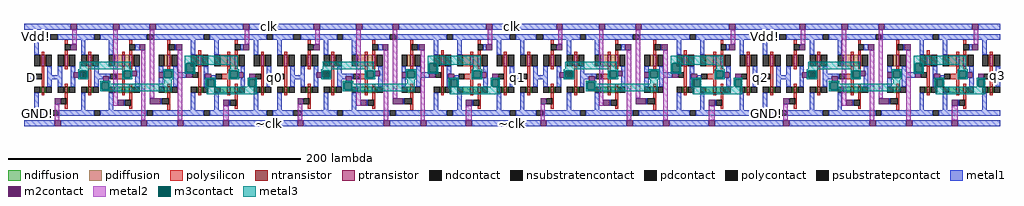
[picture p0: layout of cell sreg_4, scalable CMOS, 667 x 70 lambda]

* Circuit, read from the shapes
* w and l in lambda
.subckt sreg_4 D GND! Vdd! clk q0 q1 q2 q3 ~clk
M1 n1 D GND! GND! nfet w=4 l=2
M2 n2 ~clk n1 GND! nfet w=4 l=2
M3 n3 n2 GND! GND! nfet w=4 l=2
M4 n4 n3 GND! GND! nfet w=4 l=2
M5 n2 clk n4 GND! nfet w=4 l=2
M6 n5 clk n3 GND! nfet w=4 l=2
M7 n6 n5 GND! GND! nfet w=4 l=2
M8 n7 n6 GND! GND! nfet w=4 l=2
M9 n5 ~clk n7 GND! nfet w=4 l=2
M10 q0 n6 GND! GND! nfet w=4 l=2
M11 n8 q0 GND! GND! nfet w=4 l=2
M12 n9 ~clk n8 GND! nfet w=4 l=2
M13 n10 n9 GND! GND! nfet w=4 l=2
M14 n11 n10 GND! GND! nfet w=4 l=2
M15 n9 clk n11 GND! nfet w=4 l=2
M16 n12 clk n10 GND! nfet w=4 l=2
M17 n13 n12 GND! GND! nfet w=4 l=2
M18 n14 n13 GND! GND! nfet w=4 l=2
M19 n12 ~clk n14 GND! nfet w=4 l=2
M20 q1 n13 GND! GND! nfet w=4 l=2
M21 n15 q1 GND! GND! nfet w=4 l=2
M22 n16 ~clk n15 GND! nfet w=4 l=2
M23 n17 n16 GND! GND! nfet w=4 l=2
M24 n18 n17 GND! GND! nfet w=4 l=2
M25 n16 clk n18 GND! nfet w=4 l=2
M26 n19 clk n17 GND! nfet w=4 l=2
M27 n20 n19 GND! GND! nfet w=4 l=2
M28 n21 n20 GND! GND! nfet w=4 l=2
M29 n19 ~clk n21 GND! nfet w=4 l=2
M30 q2 n20 GND! GND! nfet w=4 l=2
M31 n22 q2 GND! GND! nfet w=4 l=2
M32 n23 ~clk n22 GND! nfet w=4 l=2
M33 n24 n23 GND! GND! nfet w=4 l=2
M34 n25 n24 GND! GND! nfet w=4 l=2
M35 n23 clk n25 GND! nfet w=4 l=2
M36 n26 clk n24 GND! nfet w=4 l=2
M37 n27 n26 GND! GND! nfet w=4 l=2
M38 n28 n27 GND! GND! nfet w=4 l=2
M39 n26 ~clk n28 GND! nfet w=4 l=2
M40 q3 n27 GND! GND! nfet w=4 l=2
M41 n1 D Vdd! Vdd! pfet w=8 l=2
M42 n2 clk n1 Vdd! pfet w=8 l=2
M43 n3 n2 Vdd! Vdd! pfet w=8 l=2
M44 n29 n3 Vdd! Vdd! pfet w=8 l=2
M45 n2 ~clk n29 Vdd! pfet w=8 l=2
M46 n5 ~clk n3 Vdd! pfet w=8 l=2
M47 n6 n5 Vdd! Vdd! pfet w=8 l=2
M48 n30 n6 Vdd! Vdd! pfet w=8 l=2
M49 n5 clk n30 Vdd! pfet w=8 l=2
M50 q0 n6 Vdd! Vdd! pfet w=8 l=2
M51 n8 q0 Vdd! Vdd! pfet w=8 l=2
M52 n9 clk n8 Vdd! pfet w=8 l=2
M53 n10 n9 Vdd! Vdd! pfet w=8 l=2
M54 n31 n10 Vdd! Vdd! pfet w=8 l=2
M55 n9 ~clk n31 Vdd! pfet w=8 l=2
M56 n12 ~clk n10 Vdd! pfet w=8 l=2
M57 n13 n12 Vdd! Vdd! pfet w=8 l=2
M58 n32 n13 Vdd! Vdd! pfet w=8 l=2
M59 n12 clk n32 Vdd! pfet w=8 l=2
M60 q1 n13 Vdd! Vdd! pfet w=8 l=2
M61 n15 q1 Vdd! Vdd! pfet w=8 l=2
M62 n16 clk n15 Vdd! pfet w=8 l=2
M63 n17 n16 Vdd! Vdd! pfet w=8 l=2
M64 n33 n17 Vdd! Vdd! pfet w=8 l=2
M65 n16 ~clk n33 Vdd! pfet w=8 l=2
M66 n19 ~clk n17 Vdd! pfet w=8 l=2
M67 n20 n19 Vdd! Vdd! pfet w=8 l=2
M68 n34 n20 Vdd! Vdd! pfet w=8 l=2
M69 n19 clk n34 Vdd! pfet w=8 l=2
M70 q2 n20 Vdd! Vdd! pfet w=8 l=2
M71 n22 q2 Vdd! Vdd! pfet w=8 l=2
M72 n23 clk n22 Vdd! pfet w=8 l=2
M73 n24 n23 Vdd! Vdd! pfet w=8 l=2
M74 n35 n24 Vdd! Vdd! pfet w=8 l=2
M75 n23 ~clk n35 Vdd! pfet w=8 l=2
M76 n26 ~clk n24 Vdd! pfet w=8 l=2
M77 n27 n26 Vdd! Vdd! pfet w=8 l=2
M78 n36 n27 Vdd! Vdd! pfet w=8 l=2
M79 n26 clk n36 Vdd! pfet w=8 l=2
M80 q3 n27 Vdd! Vdd! pfet w=8 l=2
.ends

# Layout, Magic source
magic
tech scmos
<< ntransistor >>
rect 12 23 14 27
rect 28 23 30 27
rect 44 23 46 27
rect 67 23 69 27
rect 72 23 74 27
rect 98 23 100 27
rect 119 23 121 27
rect 139 23 141 27
rect 144 23 146 27
rect 162 23 164 27
rect 178 23 180 27
rect 194 23 196 27
rect 210 23 212 27
rect 233 23 235 27
rect 238 23 240 27
rect 264 23 266 27
rect 285 23 287 27
rect 305 23 307 27
rect 310 23 312 27
rect 328 23 330 27
rect 344 23 346 27
rect 360 23 362 27
rect 376 23 378 27
rect 399 23 401 27
rect 404 23 406 27
rect 430 23 432 27
rect 451 23 453 27
rect 471 23 473 27
rect 476 23 478 27
rect 494 23 496 27
rect 510 23 512 27
rect 526 23 528 27
rect 542 23 544 27
rect 565 23 567 27
rect 570 23 572 27
rect 596 23 598 27
rect 617 23 619 27
rect 637 23 639 27
rect 642 23 644 27
rect 660 23 662 27
<< ptransistor >>
rect 12 41 14 49
rect 28 41 30 49
rect 44 41 46 49
rect 67 41 69 49
rect 72 41 74 49
rect 98 41 100 49
rect 119 41 121 49
rect 139 41 141 49
rect 144 41 146 49
rect 162 41 164 49
rect 178 41 180 49
rect 194 41 196 49
rect 210 41 212 49
rect 233 41 235 49
rect 238 41 240 49
rect 264 41 266 49
rect 285 41 287 49
rect 305 41 307 49
rect 310 41 312 49
rect 328 41 330 49
rect 344 41 346 49
rect 360 41 362 49
rect 376 41 378 49
rect 399 41 401 49
rect 404 41 406 49
rect 430 41 432 49
rect 451 41 453 49
rect 471 41 473 49
rect 476 41 478 49
rect 494 41 496 49
rect 510 41 512 49
rect 526 41 528 49
rect 542 41 544 49
rect 565 41 567 49
rect 570 41 572 49
rect 596 41 598 49
rect 617 41 619 49
rect 637 41 639 49
rect 642 41 644 49
rect 660 41 662 49
<< ndiffusion >>
rect 11 23 12 27
rect 14 23 15 27
rect 27 23 28 27
rect 30 23 31 27
rect 43 23 44 27
rect 46 23 47 27
rect 62 23 67 27
rect 69 23 72 27
rect 74 23 75 27
rect 96 23 98 27
rect 100 23 101 27
rect 118 23 119 27
rect 121 23 122 27
rect 134 23 139 27
rect 141 23 144 27
rect 146 23 147 27
rect 161 23 162 27
rect 164 23 165 27
rect 177 23 178 27
rect 180 23 181 27
rect 193 23 194 27
rect 196 23 197 27
rect 209 23 210 27
rect 212 23 213 27
rect 228 23 233 27
rect 235 23 238 27
rect 240 23 241 27
rect 262 23 264 27
rect 266 23 267 27
rect 284 23 285 27
rect 287 23 288 27
rect 300 23 305 27
rect 307 23 310 27
rect 312 23 313 27
rect 327 23 328 27
rect 330 23 331 27
rect 343 23 344 27
rect 346 23 347 27
rect 359 23 360 27
rect 362 23 363 27
rect 375 23 376 27
rect 378 23 379 27
rect 394 23 399 27
rect 401 23 404 27
rect 406 23 407 27
rect 428 23 430 27
rect 432 23 433 27
rect 450 23 451 27
rect 453 23 454 27
rect 466 23 471 27
rect 473 23 476 27
rect 478 23 479 27
rect 493 23 494 27
rect 496 23 497 27
rect 509 23 510 27
rect 512 23 513 27
rect 525 23 526 27
rect 528 23 529 27
rect 541 23 542 27
rect 544 23 545 27
rect 560 23 565 27
rect 567 23 570 27
rect 572 23 573 27
rect 594 23 596 27
rect 598 23 599 27
rect 616 23 617 27
rect 619 23 620 27
rect 632 23 637 27
rect 639 23 642 27
rect 644 23 645 27
rect 659 23 660 27
rect 662 23 663 27
<< pdiffusion >>
rect 11 41 12 49
rect 14 41 15 49
rect 27 41 28 49
rect 30 41 31 49
rect 43 41 44 49
rect 46 41 47 49
rect 62 41 67 49
rect 69 41 72 49
rect 74 41 75 49
rect 96 41 98 49
rect 100 41 101 49
rect 118 41 119 49
rect 121 41 122 49
rect 134 41 139 49
rect 141 41 144 49
rect 146 41 147 49
rect 161 41 162 49
rect 164 41 165 49
rect 177 41 178 49
rect 180 41 181 49
rect 193 41 194 49
rect 196 41 197 49
rect 209 41 210 49
rect 212 41 213 49
rect 228 41 233 49
rect 235 41 238 49
rect 240 41 241 49
rect 262 41 264 49
rect 266 41 267 49
rect 284 41 285 49
rect 287 41 288 49
rect 300 41 305 49
rect 307 41 310 49
rect 312 41 313 49
rect 327 41 328 49
rect 330 41 331 49
rect 343 41 344 49
rect 346 41 347 49
rect 359 41 360 49
rect 362 41 363 49
rect 375 41 376 49
rect 378 41 379 49
rect 394 41 399 49
rect 401 41 404 49
rect 406 41 407 49
rect 428 41 430 49
rect 432 41 433 49
rect 450 41 451 49
rect 453 41 454 49
rect 466 41 471 49
rect 473 41 476 49
rect 478 41 479 49
rect 493 41 494 49
rect 496 41 497 49
rect 509 41 510 49
rect 512 41 513 49
rect 525 41 526 49
rect 528 41 529 49
rect 541 41 542 49
rect 544 41 545 49
rect 560 41 565 49
rect 567 41 570 49
rect 572 41 573 49
rect 594 41 596 49
rect 598 41 599 49
rect 616 41 617 49
rect 619 41 620 49
rect 632 41 637 49
rect 639 41 642 49
rect 644 41 645 49
rect 659 41 660 49
rect 662 41 663 49
<< ndcontact >>
rect 7 23 11 27
rect 15 23 19 27
rect 23 23 27 27
rect 31 23 35 27
rect 39 23 43 27
rect 47 23 51 27
rect 58 23 62 27
rect 75 23 79 27
rect 92 23 96 27
rect 101 23 105 27
rect 114 23 118 27
rect 122 23 126 27
rect 130 23 134 27
rect 147 23 151 27
rect 157 23 161 27
rect 165 23 169 27
rect 173 23 177 27
rect 181 23 185 27
rect 189 23 193 27
rect 197 23 201 27
rect 205 23 209 27
rect 213 23 217 27
rect 224 23 228 27
rect 241 23 245 27
rect 258 23 262 27
rect 267 23 271 27
rect 280 23 284 27
rect 288 23 292 27
rect 296 23 300 27
rect 313 23 317 27
rect 323 23 327 27
rect 331 23 335 27
rect 339 23 343 27
rect 347 23 351 27
rect 355 23 359 27
rect 363 23 367 27
rect 371 23 375 27
rect 379 23 383 27
rect 390 23 394 27
rect 407 23 411 27
rect 424 23 428 27
rect 433 23 437 27
rect 446 23 450 27
rect 454 23 458 27
rect 462 23 466 27
rect 479 23 483 27
rect 489 23 493 27
rect 497 23 501 27
rect 505 23 509 27
rect 513 23 517 27
rect 521 23 525 27
rect 529 23 533 27
rect 537 23 541 27
rect 545 23 549 27
rect 556 23 560 27
rect 573 23 577 27
rect 590 23 594 27
rect 599 23 603 27
rect 612 23 616 27
rect 620 23 624 27
rect 628 23 632 27
rect 645 23 649 27
rect 655 23 659 27
rect 663 23 667 27
<< pdcontact >>
rect 7 41 11 49
rect 15 41 19 49
rect 23 41 27 49
rect 31 41 35 49
rect 39 41 43 49
rect 47 41 51 49
rect 58 41 62 49
rect 75 41 79 49
rect 92 41 96 49
rect 101 41 105 49
rect 114 41 118 49
rect 122 41 126 49
rect 130 41 134 49
rect 147 41 151 49
rect 157 41 161 49
rect 165 41 169 49
rect 173 41 177 49
rect 181 41 185 49
rect 189 41 193 49
rect 197 41 201 49
rect 205 41 209 49
rect 213 41 217 49
rect 224 41 228 49
rect 241 41 245 49
rect 258 41 262 49
rect 267 41 271 49
rect 280 41 284 49
rect 288 41 292 49
rect 296 41 300 49
rect 313 41 317 49
rect 323 41 327 49
rect 331 41 335 49
rect 339 41 343 49
rect 347 41 351 49
rect 355 41 359 49
rect 363 41 367 49
rect 371 41 375 49
rect 379 41 383 49
rect 390 41 394 49
rect 407 41 411 49
rect 424 41 428 49
rect 433 41 437 49
rect 446 41 450 49
rect 454 41 458 49
rect 462 41 466 49
rect 479 41 483 49
rect 489 41 493 49
rect 497 41 501 49
rect 505 41 509 49
rect 513 41 517 49
rect 521 41 525 49
rect 529 41 533 49
rect 537 41 541 49
rect 545 41 549 49
rect 556 41 560 49
rect 573 41 577 49
rect 590 41 594 49
rect 599 41 603 49
rect 612 41 616 49
rect 620 41 624 49
rect 628 41 632 49
rect 645 41 649 49
rect 655 41 659 49
rect 663 41 667 49
<< psubstratepcontact >>
rect 0 7 4 11
rect 18 7 23 11
rect 48 7 52 11
rect 84 7 88 11
rect 123 7 127 11
rect 166 7 170 11
rect 184 7 189 11
rect 214 7 218 11
rect 250 7 254 11
rect 289 7 293 11
rect 332 7 336 11
rect 350 7 355 11
rect 380 7 384 11
rect 416 7 420 11
rect 455 7 459 11
rect 498 7 502 11
rect 516 7 521 11
rect 546 7 550 11
rect 582 7 586 11
rect 621 7 625 11
<< nsubstratencontact >>
rect 0 59 4 63
rect 18 59 23 63
rect 48 59 52 63
rect 84 59 88 63
rect 123 59 127 63
rect 166 59 170 63
rect 184 59 189 63
rect 214 59 218 63
rect 250 59 254 63
rect 289 59 293 63
rect 332 59 336 63
rect 350 59 355 63
rect 380 59 384 63
rect 416 59 420 63
rect 455 59 459 63
rect 498 59 502 63
rect 516 59 521 63
rect 546 59 550 63
rect 582 59 586 63
rect 621 59 625 63
<< polysilicon >>
rect 28 56 30 59
rect 72 56 74 59
rect 98 56 100 59
rect 144 56 146 59
rect 194 56 196 59
rect 238 56 240 59
rect 264 56 266 59
rect 310 56 312 59
rect 360 56 362 59
rect 404 56 406 59
rect 430 56 432 59
rect 476 56 478 59
rect 526 56 528 59
rect 570 56 572 59
rect 596 56 598 59
rect 642 56 644 59
rect 98 52 99 56
rect 264 52 265 56
rect 430 52 431 56
rect 596 52 597 56
rect 12 49 14 51
rect 28 49 30 52
rect 44 49 46 51
rect 67 49 69 51
rect 72 49 74 52
rect 98 49 100 52
rect 119 49 121 52
rect 139 49 141 51
rect 144 49 146 52
rect 162 49 164 51
rect 178 49 180 51
rect 194 49 196 52
rect 210 49 212 51
rect 233 49 235 51
rect 238 49 240 52
rect 264 49 266 52
rect 285 49 287 52
rect 305 49 307 51
rect 310 49 312 52
rect 328 49 330 51
rect 344 49 346 51
rect 360 49 362 52
rect 376 49 378 51
rect 399 49 401 51
rect 404 49 406 52
rect 430 49 432 52
rect 451 49 453 52
rect 471 49 473 51
rect 476 49 478 52
rect 494 49 496 51
rect 510 49 512 51
rect 526 49 528 52
rect 542 49 544 51
rect 565 49 567 51
rect 570 49 572 52
rect 596 49 598 52
rect 617 49 619 52
rect 637 49 639 51
rect 642 49 644 52
rect 660 49 662 51
rect 12 27 14 41
rect 28 39 30 41
rect 28 27 30 29
rect 44 27 46 41
rect 67 36 69 41
rect 72 39 74 41
rect 98 39 100 41
rect 63 32 69 36
rect 67 27 69 32
rect 72 27 74 29
rect 98 27 100 29
rect 119 27 121 41
rect 139 36 141 41
rect 144 39 146 41
rect 135 32 141 36
rect 139 27 141 32
rect 144 27 146 29
rect 162 27 164 41
rect 178 27 180 41
rect 194 39 196 41
rect 194 27 196 29
rect 210 27 212 41
rect 233 36 235 41
rect 238 39 240 41
rect 264 39 266 41
rect 229 32 235 36
rect 233 27 235 32
rect 238 27 240 29
rect 264 27 266 29
rect 285 27 287 41
rect 305 36 307 41
rect 310 39 312 41
rect 301 32 307 36
rect 305 27 307 32
rect 310 27 312 29
rect 328 27 330 41
rect 344 27 346 41
rect 360 39 362 41
rect 360 27 362 29
rect 376 27 378 41
rect 399 36 401 41
rect 404 39 406 41
rect 430 39 432 41
rect 395 32 401 36
rect 399 27 401 32
rect 404 27 406 29
rect 430 27 432 29
rect 451 27 453 41
rect 471 36 473 41
rect 476 39 478 41
rect 467 32 473 36
rect 471 27 473 32
rect 476 27 478 29
rect 494 27 496 41
rect 510 27 512 41
rect 526 39 528 41
rect 526 27 528 29
rect 542 27 544 41
rect 565 36 567 41
rect 570 39 572 41
rect 596 39 598 41
rect 561 32 567 36
rect 565 27 567 32
rect 570 27 572 29
rect 596 27 598 29
rect 617 27 619 41
rect 637 36 639 41
rect 642 39 644 41
rect 633 32 639 36
rect 637 27 639 32
rect 642 27 644 29
rect 660 27 662 41
rect 12 21 14 23
rect 28 19 30 23
rect 44 21 46 23
rect 67 21 69 23
rect 29 15 30 19
rect 72 18 74 23
rect 98 19 100 23
rect 119 21 121 23
rect 139 21 141 23
rect 28 12 30 15
rect 73 14 74 18
rect 99 15 100 19
rect 144 18 146 23
rect 162 21 164 23
rect 178 21 180 23
rect 194 19 196 23
rect 210 21 212 23
rect 233 21 235 23
rect 72 12 74 14
rect 98 11 100 15
rect 145 14 146 18
rect 195 15 196 19
rect 238 18 240 23
rect 264 19 266 23
rect 285 21 287 23
rect 305 21 307 23
rect 144 12 146 14
rect 194 12 196 15
rect 239 14 240 18
rect 265 15 266 19
rect 310 18 312 23
rect 328 21 330 23
rect 344 21 346 23
rect 360 19 362 23
rect 376 21 378 23
rect 399 21 401 23
rect 238 12 240 14
rect 264 11 266 15
rect 311 14 312 18
rect 361 15 362 19
rect 404 18 406 23
rect 430 19 432 23
rect 451 21 453 23
rect 471 21 473 23
rect 310 12 312 14
rect 360 12 362 15
rect 405 14 406 18
rect 431 15 432 19
rect 476 18 478 23
rect 494 21 496 23
rect 510 21 512 23
rect 526 19 528 23
rect 542 21 544 23
rect 565 21 567 23
rect 404 12 406 14
rect 430 11 432 15
rect 477 14 478 18
rect 527 15 528 19
rect 570 18 572 23
rect 596 19 598 23
rect 617 21 619 23
rect 637 21 639 23
rect 476 12 478 14
rect 526 12 528 15
rect 571 14 572 18
rect 597 15 598 19
rect 642 18 644 23
rect 660 21 662 23
rect 570 12 572 14
rect 596 11 598 15
rect 643 14 644 18
rect 642 12 644 14
<< polycontact >>
rect 28 52 32 56
rect 72 52 76 56
rect 99 52 103 56
rect 144 52 148 56
rect 194 52 198 56
rect 238 52 242 56
rect 265 52 269 56
rect 310 52 314 56
rect 360 52 364 56
rect 404 52 408 56
rect 431 52 435 56
rect 476 52 480 56
rect 526 52 530 56
rect 570 52 574 56
rect 597 52 601 56
rect 642 52 646 56
rect 8 32 12 36
rect 40 33 44 37
rect 59 32 63 36
rect 115 33 119 37
rect 131 32 135 36
rect 158 32 162 36
rect 174 32 178 36
rect 206 33 210 37
rect 225 32 229 36
rect 281 33 285 37
rect 297 32 301 36
rect 324 32 328 36
rect 340 32 344 36
rect 372 33 376 37
rect 391 32 395 36
rect 447 33 451 37
rect 463 32 467 36
rect 490 32 494 36
rect 506 32 510 36
rect 538 33 542 37
rect 557 32 561 36
rect 613 33 617 37
rect 629 32 633 36
rect 656 32 660 36
rect 25 15 29 19
rect 69 14 73 18
rect 94 15 99 19
rect 141 14 145 18
rect 191 15 195 19
rect 235 14 239 18
rect 260 15 265 19
rect 307 14 311 18
rect 357 15 361 19
rect 401 14 405 18
rect 426 15 431 19
rect 473 14 477 18
rect 523 15 527 19
rect 567 14 571 18
rect 592 15 597 19
rect 639 14 643 18
<< metal1 >>
rect 0 66 32 70
rect 36 66 61 70
rect 65 66 86 70
rect 90 66 150 70
rect 154 66 198 70
rect 202 66 227 70
rect 231 66 252 70
rect 256 66 316 70
rect 320 66 364 70
rect 368 66 393 70
rect 397 66 418 70
rect 422 66 482 70
rect 486 66 530 70
rect 534 66 559 70
rect 563 66 584 70
rect 588 66 648 70
rect 652 66 667 70
rect 4 59 18 63
rect 23 59 48 63
rect 52 59 84 63
rect 88 59 123 63
rect 127 59 166 63
rect 170 59 184 63
rect 189 59 214 63
rect 218 59 250 63
rect 254 59 289 63
rect 293 59 332 63
rect 336 59 350 63
rect 355 59 380 63
rect 384 59 416 63
rect 420 59 455 63
rect 459 59 498 63
rect 502 59 516 63
rect 521 59 546 63
rect 550 59 582 63
rect 586 59 621 63
rect 625 59 667 63
rect 7 49 10 59
rect 39 49 42 59
rect 58 49 61 59
rect 76 52 79 56
rect 103 52 104 56
rect 114 49 117 59
rect 130 49 133 59
rect 148 52 150 56
rect 157 49 160 59
rect 173 49 176 59
rect 205 49 208 59
rect 224 49 227 59
rect 242 52 245 56
rect 269 52 270 56
rect 280 49 283 59
rect 296 49 299 59
rect 314 52 316 56
rect 323 49 326 59
rect 339 49 342 59
rect 371 49 374 59
rect 390 49 393 59
rect 408 52 411 56
rect 435 52 436 56
rect 446 49 449 59
rect 462 49 465 59
rect 480 52 482 56
rect 489 49 492 59
rect 505 49 508 59
rect 537 49 540 59
rect 556 49 559 59
rect 574 52 577 56
rect 601 52 602 56
rect 612 49 615 59
rect 628 49 631 59
rect 646 52 648 56
rect 655 49 658 59
rect 3 32 8 35
rect 16 35 19 41
rect 23 35 26 41
rect 16 32 26 35
rect 16 27 19 32
rect 23 27 26 32
rect 32 37 35 41
rect 32 33 34 37
rect 38 33 40 37
rect 48 36 51 41
rect 76 38 79 41
rect 48 34 59 36
rect 32 27 35 33
rect 48 32 54 34
rect 48 27 51 32
rect 58 32 59 34
rect 77 34 79 38
rect 76 27 79 34
rect 92 37 95 41
rect 102 37 105 41
rect 102 33 111 37
rect 123 36 126 41
rect 148 37 151 41
rect 92 27 95 33
rect 102 27 105 33
rect 123 32 124 36
rect 128 32 131 35
rect 150 33 151 37
rect 123 27 126 32
rect 148 27 151 33
rect 166 35 169 41
rect 166 32 174 35
rect 182 35 185 41
rect 189 35 192 41
rect 182 32 192 35
rect 166 27 169 32
rect 182 27 185 32
rect 189 27 192 32
rect 198 37 201 41
rect 198 33 200 37
rect 204 33 206 37
rect 214 36 217 41
rect 242 38 245 41
rect 214 34 225 36
rect 198 27 201 33
rect 214 32 220 34
rect 214 27 217 32
rect 224 32 225 34
rect 243 34 245 38
rect 242 27 245 34
rect 258 37 261 41
rect 268 37 271 41
rect 268 33 277 37
rect 289 36 292 41
rect 314 37 317 41
rect 258 27 261 33
rect 268 27 271 33
rect 289 32 290 36
rect 294 32 297 35
rect 316 33 317 37
rect 289 27 292 32
rect 314 27 317 33
rect 332 35 335 41
rect 332 32 340 35
rect 348 35 351 41
rect 355 35 358 41
rect 348 32 358 35
rect 332 27 335 32
rect 348 27 351 32
rect 355 27 358 32
rect 364 37 367 41
rect 364 33 366 37
rect 370 33 372 37
rect 380 36 383 41
rect 408 38 411 41
rect 380 34 391 36
rect 364 27 367 33
rect 380 32 386 34
rect 380 27 383 32
rect 390 32 391 34
rect 409 34 411 38
rect 408 27 411 34
rect 424 37 427 41
rect 434 37 437 41
rect 434 33 443 37
rect 455 36 458 41
rect 480 37 483 41
rect 424 27 427 33
rect 434 27 437 33
rect 455 32 456 36
rect 460 32 463 35
rect 482 33 483 37
rect 455 27 458 32
rect 480 27 483 33
rect 498 35 501 41
rect 498 32 506 35
rect 514 35 517 41
rect 521 35 524 41
rect 514 32 524 35
rect 498 27 501 32
rect 514 27 517 32
rect 521 27 524 32
rect 530 37 533 41
rect 530 33 532 37
rect 536 33 538 37
rect 546 36 549 41
rect 574 38 577 41
rect 546 34 557 36
rect 530 27 533 33
rect 546 32 552 34
rect 546 27 549 32
rect 556 32 557 34
rect 575 34 577 38
rect 574 27 577 34
rect 590 37 593 41
rect 600 37 603 41
rect 600 33 609 37
rect 621 36 624 41
rect 646 37 649 41
rect 590 27 593 33
rect 600 27 603 33
rect 621 32 622 36
rect 626 32 629 35
rect 648 33 649 37
rect 621 27 624 32
rect 646 27 649 33
rect 664 27 667 41
rect 7 11 10 23
rect 39 11 42 23
rect 58 11 61 23
rect 68 14 69 18
rect 93 15 94 19
rect 114 11 117 23
rect 130 11 133 23
rect 140 14 141 18
rect 157 11 160 23
rect 173 11 176 23
rect 205 11 208 23
rect 224 11 227 23
rect 234 14 235 18
rect 259 15 260 19
rect 280 11 283 23
rect 296 11 299 23
rect 306 14 307 18
rect 323 11 326 23
rect 339 11 342 23
rect 371 11 374 23
rect 390 11 393 23
rect 400 14 401 18
rect 425 15 426 19
rect 446 11 449 23
rect 462 11 465 23
rect 472 14 473 18
rect 489 11 492 23
rect 505 11 508 23
rect 537 11 540 23
rect 556 11 559 23
rect 566 14 567 18
rect 591 15 592 19
rect 612 11 615 23
rect 628 11 631 23
rect 638 14 639 18
rect 655 11 658 23
rect 4 7 18 11
rect 23 7 48 11
rect 52 7 84 11
rect 88 7 123 11
rect 127 7 166 11
rect 170 7 184 11
rect 189 7 214 11
rect 218 7 250 11
rect 254 7 289 11
rect 293 7 332 11
rect 336 7 350 11
rect 355 7 380 11
rect 384 7 416 11
rect 420 7 455 11
rect 459 7 498 11
rect 502 7 516 11
rect 521 7 546 11
rect 550 7 582 11
rect 586 7 621 11
rect 625 7 667 11
rect 0 0 21 4
rect 25 0 80 4
rect 84 0 105 4
rect 109 0 136 4
rect 140 0 187 4
rect 191 0 246 4
rect 250 0 271 4
rect 275 0 302 4
rect 306 0 353 4
rect 357 0 412 4
rect 416 0 437 4
rect 441 0 468 4
rect 472 0 519 4
rect 523 0 578 4
rect 582 0 603 4
rect 607 0 634 4
rect 638 0 667 4
<< m2contact >>
rect 32 66 36 70
rect 61 66 65 70
rect 86 66 90 70
rect 150 66 154 70
rect 198 66 202 70
rect 227 66 231 70
rect 252 66 256 70
rect 316 66 320 70
rect 364 66 368 70
rect 393 66 397 70
rect 418 66 422 70
rect 482 66 486 70
rect 530 66 534 70
rect 559 66 563 70
rect 584 66 588 70
rect 648 66 652 70
rect 32 52 36 56
rect 79 52 83 56
rect 104 52 108 56
rect 150 52 154 56
rect 198 52 202 56
rect 245 52 249 56
rect 270 52 274 56
rect 316 52 320 56
rect 364 52 368 56
rect 411 52 415 56
rect 436 52 440 56
rect 482 52 486 56
rect 530 52 534 56
rect 577 52 581 56
rect 602 52 606 56
rect 648 52 652 56
rect 34 33 38 37
rect 54 30 58 34
rect 73 34 77 38
rect 92 33 96 37
rect 111 33 115 37
rect 124 32 128 36
rect 146 33 150 37
rect 154 32 158 36
rect 200 33 204 37
rect 220 30 224 34
rect 239 34 243 38
rect 258 33 262 37
rect 277 33 281 37
rect 290 32 294 36
rect 312 33 316 37
rect 320 32 324 36
rect 366 33 370 37
rect 386 30 390 34
rect 405 34 409 38
rect 424 33 428 37
rect 443 33 447 37
rect 456 32 460 36
rect 478 33 482 37
rect 486 32 490 36
rect 532 33 536 37
rect 552 30 556 34
rect 571 34 575 38
rect 590 33 594 37
rect 609 33 613 37
rect 622 32 626 36
rect 644 33 648 37
rect 652 32 656 36
rect 21 15 25 19
rect 64 14 68 18
rect 86 15 93 19
rect 136 14 140 18
rect 187 15 191 19
rect 230 14 234 18
rect 252 15 259 19
rect 302 14 306 18
rect 353 15 357 19
rect 396 14 400 18
rect 418 15 425 19
rect 468 14 472 18
rect 519 15 523 19
rect 562 14 566 18
rect 584 15 591 19
rect 634 14 638 18
rect 21 0 25 4
rect 80 0 84 4
rect 105 0 109 4
rect 136 0 140 4
rect 187 0 191 4
rect 246 0 250 4
rect 271 0 275 4
rect 302 0 306 4
rect 353 0 357 4
rect 412 0 416 4
rect 437 0 441 4
rect 468 0 472 4
rect 519 0 523 4
rect 578 0 582 4
rect 603 0 607 4
rect 634 0 638 4
<< metal2 >>
rect 33 56 36 66
rect 21 4 24 15
rect 61 14 64 66
rect 80 4 83 52
rect 86 19 89 66
rect 151 56 154 66
rect 199 56 202 66
rect 105 4 108 52
rect 136 4 140 14
rect 187 4 190 15
rect 227 14 230 66
rect 246 4 249 52
rect 252 19 255 66
rect 317 56 320 66
rect 365 56 368 66
rect 271 4 274 52
rect 302 4 306 14
rect 353 4 356 15
rect 393 14 396 66
rect 412 4 415 52
rect 418 19 421 66
rect 483 56 486 66
rect 531 56 534 66
rect 437 4 440 52
rect 468 4 472 14
rect 519 4 522 15
rect 559 14 562 66
rect 578 4 581 52
rect 584 19 587 66
rect 649 56 652 66
rect 603 4 606 52
rect 634 4 638 14
<< m3contact >>
rect 38 33 43 38
rect 53 25 58 30
rect 68 33 73 38
rect 96 33 101 38
rect 111 37 116 43
rect 141 33 146 38
rect 204 33 209 38
rect 125 27 130 32
rect 154 27 158 32
rect 219 25 224 30
rect 234 33 239 38
rect 262 33 267 38
rect 277 37 282 43
rect 307 33 312 38
rect 370 33 375 38
rect 291 27 296 32
rect 320 27 324 32
rect 385 25 390 30
rect 400 33 405 38
rect 428 33 433 38
rect 443 37 448 43
rect 473 33 478 38
rect 536 33 541 38
rect 457 27 462 32
rect 486 27 490 32
rect 551 25 556 30
rect 566 33 571 38
rect 594 33 599 38
rect 609 37 614 43
rect 639 33 644 38
rect 623 27 628 32
rect 652 27 656 32
<< metal3 >>
rect 38 39 73 44
rect 110 43 146 48
rect 37 38 44 39
rect 37 33 38 38
rect 43 33 44 38
rect 37 32 44 33
rect 67 38 74 39
rect 67 33 68 38
rect 73 33 74 38
rect 67 32 74 33
rect 95 38 102 39
rect 95 33 96 38
rect 101 33 102 38
rect 110 37 111 43
rect 116 42 146 43
rect 116 37 117 42
rect 141 39 146 42
rect 204 39 239 44
rect 276 43 312 48
rect 110 36 117 37
rect 140 38 147 39
rect 140 33 141 38
rect 146 33 147 38
rect 203 38 210 39
rect 203 33 204 38
rect 209 33 210 38
rect 95 32 102 33
rect 124 32 131 33
rect 140 32 147 33
rect 153 32 159 33
rect 203 32 210 33
rect 233 38 240 39
rect 233 33 234 38
rect 239 33 240 38
rect 233 32 240 33
rect 261 38 268 39
rect 261 33 262 38
rect 267 33 268 38
rect 276 37 277 43
rect 282 42 312 43
rect 282 37 283 42
rect 307 39 312 42
rect 370 39 405 44
rect 442 43 478 48
rect 276 36 283 37
rect 306 38 313 39
rect 306 33 307 38
rect 312 33 313 38
rect 369 38 376 39
rect 369 33 370 38
rect 375 33 376 38
rect 261 32 268 33
rect 290 32 297 33
rect 306 32 313 33
rect 319 32 325 33
rect 369 32 376 33
rect 399 38 406 39
rect 399 33 400 38
rect 405 33 406 38
rect 399 32 406 33
rect 427 38 434 39
rect 427 33 428 38
rect 433 33 434 38
rect 442 37 443 43
rect 448 42 478 43
rect 448 37 449 42
rect 473 39 478 42
rect 536 39 571 44
rect 608 43 644 48
rect 442 36 449 37
rect 472 38 479 39
rect 472 33 473 38
rect 478 33 479 38
rect 535 38 542 39
rect 535 33 536 38
rect 541 33 542 38
rect 427 32 434 33
rect 456 32 463 33
rect 472 32 479 33
rect 485 32 491 33
rect 535 32 542 33
rect 565 38 572 39
rect 565 33 566 38
rect 571 33 572 38
rect 565 32 572 33
rect 593 38 600 39
rect 593 33 594 38
rect 599 33 600 38
rect 608 37 609 43
rect 614 42 644 43
rect 614 37 615 42
rect 639 39 644 42
rect 608 36 615 37
rect 638 38 645 39
rect 638 33 639 38
rect 644 33 645 38
rect 593 32 600 33
rect 622 32 629 33
rect 638 32 645 33
rect 651 32 657 33
rect 52 30 59 31
rect 52 25 53 30
rect 58 29 59 30
rect 96 29 101 32
rect 58 25 101 29
rect 124 27 125 32
rect 130 27 131 32
rect 153 27 154 32
rect 158 27 159 32
rect 124 26 159 27
rect 52 24 101 25
rect 125 22 159 26
rect 218 30 225 31
rect 218 25 219 30
rect 224 29 225 30
rect 262 29 267 32
rect 224 25 267 29
rect 290 27 291 32
rect 296 27 297 32
rect 319 27 320 32
rect 324 27 325 32
rect 290 26 325 27
rect 218 24 267 25
rect 291 22 325 26
rect 384 30 391 31
rect 384 25 385 30
rect 390 29 391 30
rect 428 29 433 32
rect 390 25 433 29
rect 456 27 457 32
rect 462 27 463 32
rect 485 27 486 32
rect 490 27 491 32
rect 456 26 491 27
rect 384 24 433 25
rect 457 22 491 26
rect 550 30 557 31
rect 550 25 551 30
rect 556 29 557 30
rect 594 29 599 32
rect 556 25 599 29
rect 622 27 623 32
rect 628 27 629 32
rect 651 27 652 32
rect 656 27 657 32
rect 622 26 657 27
rect 550 24 599 25
rect 623 22 657 26
<< labels >>
rlabel metal1 3 32 7 35 1 D
rlabel metal1 8 7 11 11 1 GND!
rlabel metal1 7 59 10 63 1 Vdd!
rlabel metal1 0 66 3 70 4 clk
rlabel metal1 0 0 3 4 2 ~clk
rlabel metal1 166 0 169 4 2 ~clk
rlabel metal1 166 66 169 70 4 clk
rlabel metal1 173 59 176 63 1 Vdd!
rlabel metal1 174 7 177 11 1 GND!
rlabel metal1 169 32 173 35 1 q0
rlabel metal1 506 7 509 11 1 GND!
rlabel metal1 505 59 508 63 1 Vdd!
rlabel metal1 498 66 501 70 4 clk
rlabel metal1 498 0 501 4 2 ~clk
rlabel metal1 332 0 335 4 2 ~clk
rlabel metal1 332 66 335 70 4 clk
rlabel metal1 339 59 342 63 1 Vdd!
rlabel metal1 340 7 343 11 1 GND!
rlabel metal1 335 32 339 35 1 q1
rlabel metal1 501 32 505 35 1 q2
rlabel metal1 664 33 667 36 7 q3
<< end >>
